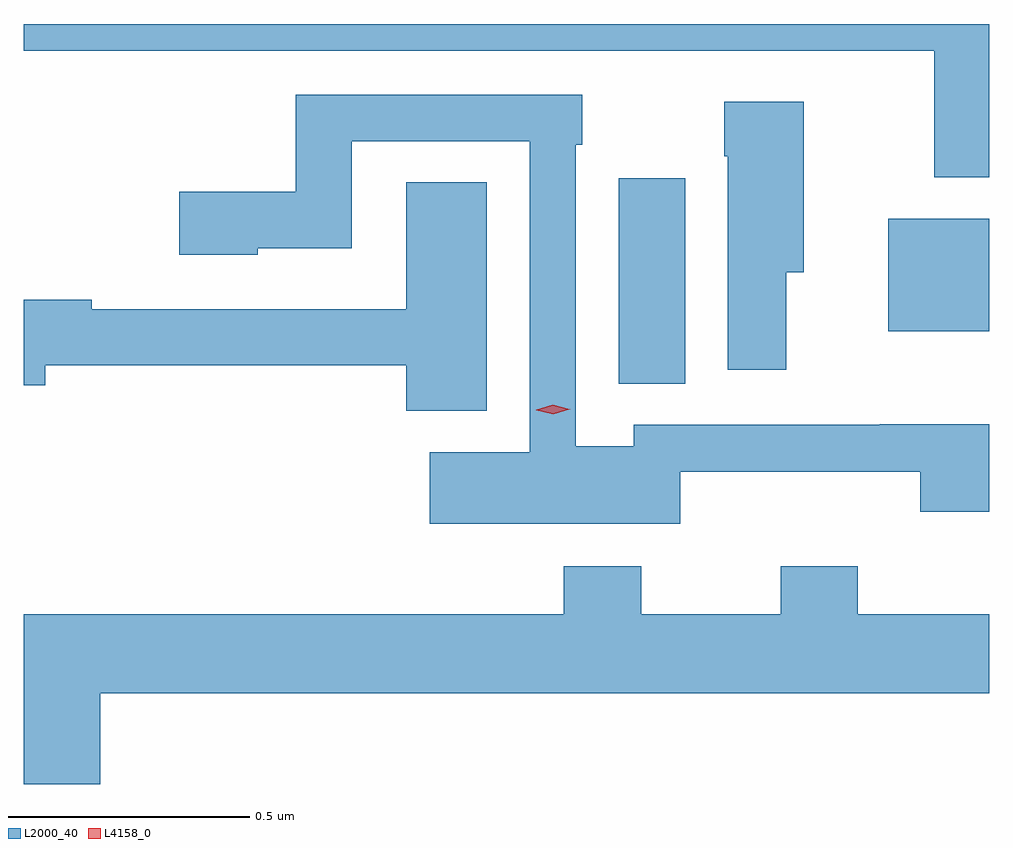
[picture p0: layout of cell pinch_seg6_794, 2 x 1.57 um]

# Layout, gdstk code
import gdstk
lib = gdstk.Library(unit=1e-6, precision=1e-09)
def R(c, l, rs):  # rectangles x0, y0, x1, y1
    for r in rs: c.add(gdstk.rectangle(r[:2], r[2:], *l))
def P(c, l, *ps):  # polygons
    for p in ps: c.add(gdstk.Polygon(p, *l))
L2000_40 = (2000, 40)
L4158_0 = (4158, 0)

pinch_seg6_794 = lib.new_cell('pinch_seg6_794')
R(pinch_seg6_794, L2000_40, [(310.103,982.609,310.24,983.035), (310.661,982.718,310.87,982.951)])
P(pinch_seg6_794, L2000_40, [(310.87,983.355),(308.87,983.355),(308.87,983.3),(310.756,983.3),(310.756,983.037),(310.87,983.037)],
  [(310.23,982.427),(310.727,982.427),(310.727,982.344),(310.87,982.344),(310.87,982.526),(310.643,982.526),(310.643,982.524),(310.134,982.524),(310.134,982.48),(310.014,982.48),(310.014,983.105),(310.027,983.105),(310.027,983.208),(309.433,983.208),(309.433,983.007),(309.192,983.007),(309.192,982.877),(309.354,982.877),(309.354,982.89),(309.549,982.89),(309.549,983.112),(309.918,983.112),(309.918,982.468),(309.711,982.468),(309.711,982.319),(310.23,982.319)],
  [(310.45,982.841),(310.486,982.841),(310.486,983.194),(310.321,983.194),(310.321,983.081),(310.328,983.081),(310.328,982.638),(310.45,982.638)],
  [(309.829,983.027),(309.662,983.027),(309.662,982.764),(309.01,982.764),(309.01,982.784),(308.87,982.784),(308.87,982.606),(308.914,982.606),(308.914,982.648),(309.662,982.648),(309.662,982.553),(309.829,982.553)],
  [(309.028,981.968),(310.87,981.968),(310.87,982.132),(310.598,982.132),(310.598,982.231),(310.438,982.231),(310.438,982.132),(310.149,982.132),(310.149,982.231),(309.989,982.231),(309.989,982.132),(308.87,982.132),(308.87,981.78),(309.028,981.78)])
P(pinch_seg6_794, L4158_0, [(309.967,982.546),(309.932,982.555),(309.932,982.556),(309.932,982.556),(309.966,982.566),(310.001,982.557),(310.002,982.557),(310.001,982.557)])

lib.write_gds('pinch_seg6_794.gds')
